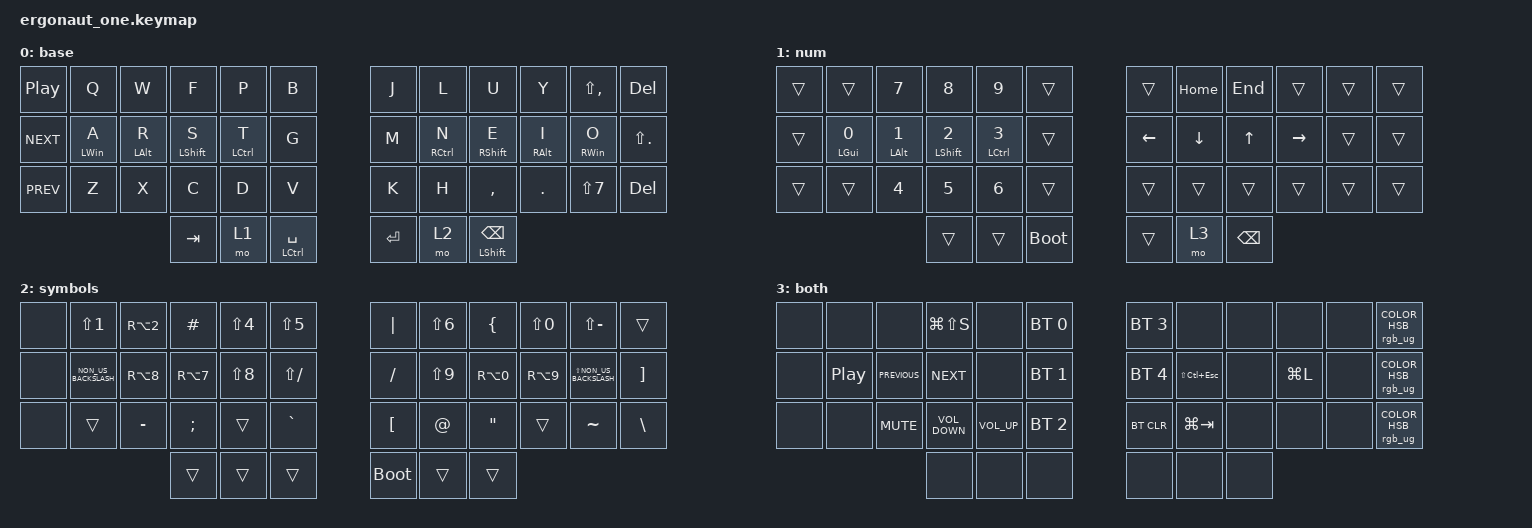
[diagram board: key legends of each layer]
#include <behaviors.dtsi>
#include <dt-bindings/zmk/bt.h>
#include <dt-bindings/zmk/keys.h>
#include <dt-bindings/zmk/rgb.h>

// dt-formatter: indent = "  "
// dt-formatter: reindentMultilineIntegerCells = "dedent"

/ {
  behaviors {
    hm: homerow_mods {
      compatible = "zmk,behavior-hold-tap";
      label = "HOMEROW_MODS";
      #binding-cells = <2>;
      tapping-term-ms = <150>;
      quick-tap-ms = <0>;
      flavor = "tap-preferred";
      bindings = <&kp>, <&kp>;
    };
  };

  combos {
    compatible = "zmk,combos";

    tab {
      bindings = <&trans>;
      key-positions = <2 3>;
    };

    ctrl {
      bindings = <&kp LCTRL>;
      key-positions = <26 27>;
    };

    cmd {
      bindings = <&kp LCMD>;
      key-positions = <37 38>;
    };

    alt {
      bindings = <&kp LEFT_ALT>;
      key-positions = <39 40>;
    };

    caps_word {
      bindings = <&caps_word>;
      key-positions = <17 18>;
    };

    delete {
      bindings = <&kp DEL>;
      key-positions = <32 33>;
    };

    quickpause {
      bindings = <&kp C_PLAY_PAUSE>;
      key-positions = <15 20>;
    };

    escape {
      bindings = <&kp ESCAPE>;
      key-positions = <19 20>;
    };

    colemakdh {
      bindings = <&tog 0>;
      key-positions = <18 12 23 17>;
    };
  };

  macros {
    zed_em_kay: zed_em_kay {
      compatible = "zmk,behavior-macro";
      label = "ZM_zed_em_kay";
      #binding-cells = <0>;
      bindings =
        <&macro_press>,
        <&kp LSHFT>,
        <&macro_tap>,
        <&kp Z &kp M &kp K>,
        <&macro_release>,
        <&kp LSHFT>;
    };
  };

  keymap {
    compatible = "zmk,keymap";

    base {
      bindings = <
&kp C_PP    &kp Q           &kp W           &kp F         &kp P        &kp B                   &kp J      &kp L                &kp U                 &kp Y            &kp LS(COMMA)     &kp DELETE
&kp C_NEXT  &hm LEFT_WIN A  &hm LEFT_ALT R  &hm LSHIFT S  &hm LCTRL T  &kp G                   &kp M      &hm RIGHT_CONTROL N  &hm RIGHT_SHIFT E     &hm RIGHT_ALT I  &hm RIGHT_WIN O   &kp LS(PERIOD)
&kp C_PREV  &kp Z           &kp X           &kp C         &kp D        &kp V                   &kp K      &kp H                &kp COMMA             &kp DOT          &kp LS(NUMBER_7)  &kp DELETE
                                            &kp TAB       &mo 1        &hm LEFT_CONTROL SPACE  &kp ENTER  &mo 2                &hm LSHIFT BACKSPACE
      >;
    };

    numbersNnav {
      bindings = <
&trans  &trans           &kp N7                 &kp N8                   &kp N9                     &trans       &trans          &kp HOME  &kp END        &trans     &trans  &trans
&trans  &hm LEFT_GUI N0  &hm LEFT_ALT NUMBER_1  &hm LEFT_SHIFT NUMBER_2  &hm LEFT_CONTROL NUMBER_3  &trans       &kp LEFT_ARROW  &kp DOWN  &kp UP_ARROW   &kp RIGHT  &trans  &trans
&trans  &trans           &kp N4                 &kp N5                   &kp N6                     &trans       &trans          &trans    &trans         &trans     &trans  &trans
                                                &trans                   &trans                     &bootloader  &trans          &mo 3     &kp BACKSPACE
      >;

      label = "num";
    };

    symbols {
      bindings = <
&none  &kp LS(NUMBER_1)      &kp RA(NUMBER_2)  &kp HASH          &kp LS(NUMBER_4)  &kp LS(NUMBER_5)  &kp PIPE          &kp LS(NUMBER_6)  &kp LEFT_BRACE     &kp LS(NUMBER_0)  &kp LS(MINUS)             &trans
&none  &kp NON_US_BACKSLASH  &kp RA(NUMBER_8)  &kp RA(NUMBER_7)  &kp LS(NUMBER_8)  &kp LS(SLASH)     &kp SLASH         &kp LS(NUMBER_9)  &kp RA(NUMBER_0)   &kp RA(N9)        &kp LS(NON_US_BACKSLASH)  &kp RIGHT_BRACKET
&none  &trans                &kp MINUS         &kp SEMICOLON     &trans            &kp GRAVE         &kp LEFT_BRACKET  &kp AT_SIGN       &kp DOUBLE_QUOTES  &trans            &kp TILDE                 &kp BACKSLASH
                                               &trans            &trans            &trans            &bootloader       &trans            &trans
      >;
    };

    both {
      bindings = <
&none  &none             &none           &kp LG(LS(S))      &none         &bt BT_SEL 0  &bt BT_SEL 3  &none               &none  &none      &none  &rgb_ug RGB_COLOR_HSB(0,60,50)
&none  &kp C_PLAY_PAUSE  &kp C_PREVIOUS  &kp C_NEXT         &none         &bt BT_SEL 1  &bt BT_SEL 4  &kp LS(LC(ESCAPE))  &none  &kp LG(L)  &none  &rgb_ug RGB_COLOR_HSB(120,60,50)
&none  &none             &kp C_MUTE      &kp C_VOLUME_DOWN  &kp C_VOL_UP  &bt BT_SEL 2  &bt BT_CLR    &kp LG(TAB)         &none  &none      &none  &rgb_ug RGB_COLOR_HSB(240,60,50)
                                         &none              &none         &none         &none         &none               &none
      >;
    };
  };
};
